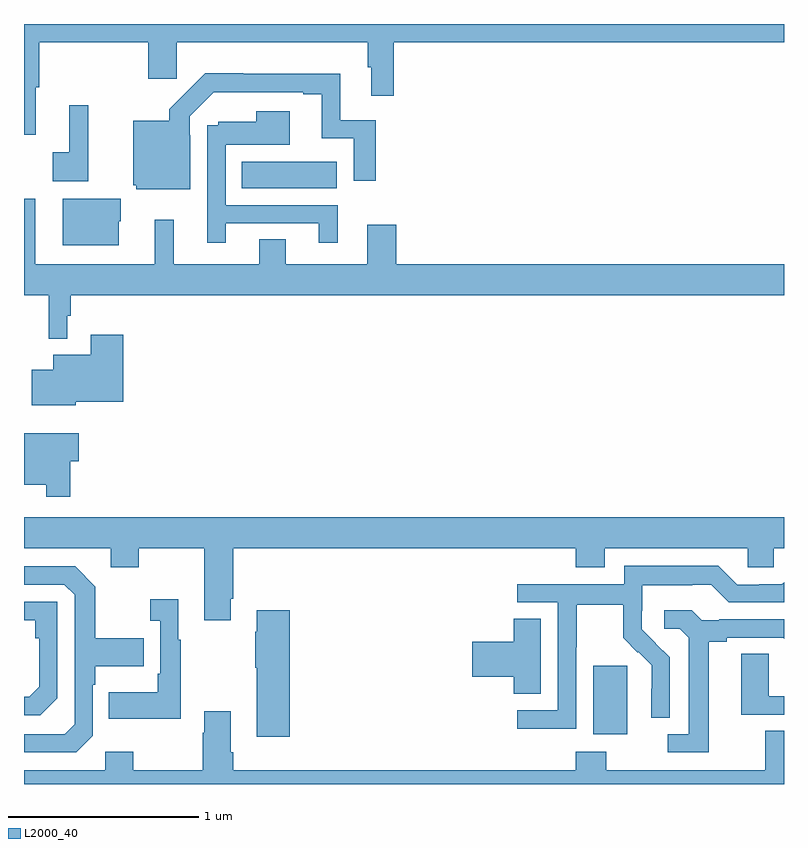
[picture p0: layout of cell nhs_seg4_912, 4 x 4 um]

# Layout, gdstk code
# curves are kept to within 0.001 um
import gdstk
lib = gdstk.Library(unit=1e-6, precision=1e-09)
def R(c, l, rs):  # rectangles x0, y0, x1, y1
    for r in rs: c.add(gdstk.rectangle(r[:2], r[2:], *l))
def P(c, l, *ps):  # polygons
    for p in ps: c.add(gdstk.Polygon(p, *l))
L2000_40 = (2000, 40)

nhs_seg4_912 = lib.new_cell('nhs_seg4_912')
R(nhs_seg4_912, L2000_40, [(159.995,809.162,160.174,809.523), (158.146,812.036,158.647,812.176)])
P(nhs_seg4_912, L2000_40, [(157.061,812.568),(157.079,812.568),(157.079,812.804),(157.655,812.804),(157.655,812.613),(157.805,812.613),(157.805,812.804),(158.809,812.804),(158.809,812.672),(158.828,812.672),(158.828,812.523),(158.945,812.523),(158.945,812.804),(161,812.804),(161,812.9),(157,812.9),(157,812.316),(157.061,812.316)],
  [(157.876,812.315),(157.872,812.315),(157.872,812.415),(157.998,812.541),(158.471,812.541),(158.471,812.529),(158.567,812.529),(158.567,812.298),(158.736,812.298),(158.736,812.076),(158.852,812.076),(158.852,812.394),(158.665,812.394),(158.665,812.638),(158.153,812.638),(158.153,812.641),(157.954,812.641),(157.764,812.451),(157.764,812.392),(157.574,812.392),(157.574,812.052),(157.59,812.052),(157.59,812.03),(157.876,812.03)],
  [(157.338,812.473),(157.238,812.473),(157.238,812.225),(157.152,812.225),(157.152,812.072),(157.338,812.072)],
  [(158.062,811.851),(158.552,811.851),(158.552,811.749),(158.65,811.749),(158.65,811.947),(158.061,811.947),(158.061,812.264),(158.398,812.264),(158.398,812.44),(158.222,812.44),(158.222,812.386),(158.022,812.386),(158.022,812.367),(157.965,812.367),(157.965,811.749),(158.062,811.749)],
  [(161,811.636),(158.96,811.636),(158.96,811.843),(158.807,811.843),(158.807,811.636),(158.377,811.636),(158.377,811.766),(158.237,811.766),(158.237,811.636),(157.787,811.636),(157.787,811.87),(157.688,811.87),(157.688,811.636),(157.06,811.636),(157.06,811.981),(157,811.981),(157,811.472),(157.13,811.472),(157.13,811.244),(157.227,811.244),(157.227,811.365),(157.247,811.365),(157.247,811.472),(161,811.472)],
  [(157.498,811.863),(157.509,811.863),(157.509,811.981),(157.205,811.981),(157.205,811.736),(157.498,811.736)],
  [(157.272,810.911),(157.523,810.911),(157.523,811.264),(157.352,811.264),(157.352,811.159),(157.154,811.159),(157.154,811.081),(157.04,811.081),(157.04,810.893),(157.272,810.893)],
  [(157.244,810.598),(157.288,810.598),(157.288,810.745),(157,810.745),(157,810.476),(157.116,810.476),(157.116,810.411),(157.244,810.411)],
  [(158.089,809.875),(158.102,809.875),(158.102,810.14),(159.905,810.14),(159.905,810.041),(160.057,810.041),(160.057,810.14),(160.809,810.14),(160.809,810.042),(160.947,810.042),(160.947,810.14),(161,810.14),(161,810.304),(157,810.304),(157,810.14),(157.457,810.14),(157.457,810.041),(157.605,810.041),(157.605,810.14),(157.949,810.14),(157.949,809.763),(158.089,809.763)],
  [(159.906,809.62),(159.909,809.62),(159.909,809.844),(160.153,809.844),(160.153,809.669),(160.23,809.592),(160.233,809.595),(160.304,809.525),(160.304,809.402),(160.302,809.402),(160.302,809.248),(160.398,809.248),(160.398,809.566),(160.252,809.714),(160.252,809.811),(160.254,809.811),(160.254,809.945),(160.517,809.945),(160.517,809.949),(160.617,809.949),(160.71,809.856),(161,809.856),(161,809.963),(160.989,809.952),(160.871,809.952),(160.871,809.949),(160.755,809.949),(160.655,810.049),(160.158,810.049),(160.158,809.952),(159.597,809.952),(159.597,809.856),(159.81,809.856),(159.81,809.289),(159.597,809.289),(159.597,809.191),(159.906,809.191)],
  [(157.362,809.154),(157.362,809.423),(157.375,809.423),(157.375,809.519),(157.631,809.519),(157.631,809.667),(157.375,809.667),(157.375,809.939),(157.269,810.045),(157,810.045),(157,809.949),(157.212,809.949),(157.266,809.895),(157.266,809.214),(157.215,809.163),(157,809.163),(157,809.067),(157.275,809.067)],
  [(157.825,809.659),(157.813,809.659),(157.813,809.872),(157.665,809.872),(157.665,809.759),(157.716,809.759),(157.716,809.479),(157.704,809.479),(157.704,809.383),(157.447,809.383),(157.447,809.243),(157.825,809.243)],
  [(157.176,809.352),(157.176,809.859),(157,809.859),(157,809.763),(157.06,809.763),(157.06,809.666),(157.08,809.666),(157.08,809.412),(157.027,809.359),(157,809.359),(157,809.262),(157.086,809.262)],
  [(158.398,809.815),(158.225,809.815),(158.225,809.702),(158.218,809.702),(158.218,809.513),(158.225,809.513),(158.225,809.148),(158.398,809.148)],
  [(160.603,809.648),(160.699,809.648),(160.699,809.67),(160.994,809.67),(161,809.664),(161,809.766),(160.66,809.766),(160.66,809.763),(160.566,809.763),(160.514,809.815),(160.371,809.815),(160.371,809.718),(160.452,809.718),(160.499,809.671),(160.499,809.163),(160.389,809.163),(160.389,809.067),(160.603,809.067)],
  [(159.721,809.771),(159.578,809.771),(159.578,809.648),(159.36,809.648),(159.36,809.465),(159.578,809.465),(159.578,809.374),(159.721,809.374)],
  [(161,809.361),(160.92,809.361),(160.92,809.585),(160.775,809.585),(160.775,809.265),(161,809.265)],
  [(161,809.18),(160.901,809.18),(160.901,808.972),(160.065,808.972),(160.065,809.071),(159.905,809.071),(159.905,808.972),(158.102,808.972),(158.102,809.068),(158.089,809.068),(158.089,809.284),(157.949,809.284),(157.949,809.171),(157.942,809.171),(157.942,808.972),(157.575,808.972),(157.575,809.071),(157.428,809.071),(157.428,808.972),(157,808.972),(157,808.9),(161,808.9)])

lib.write_gds('nhs_seg4_912.gds')
